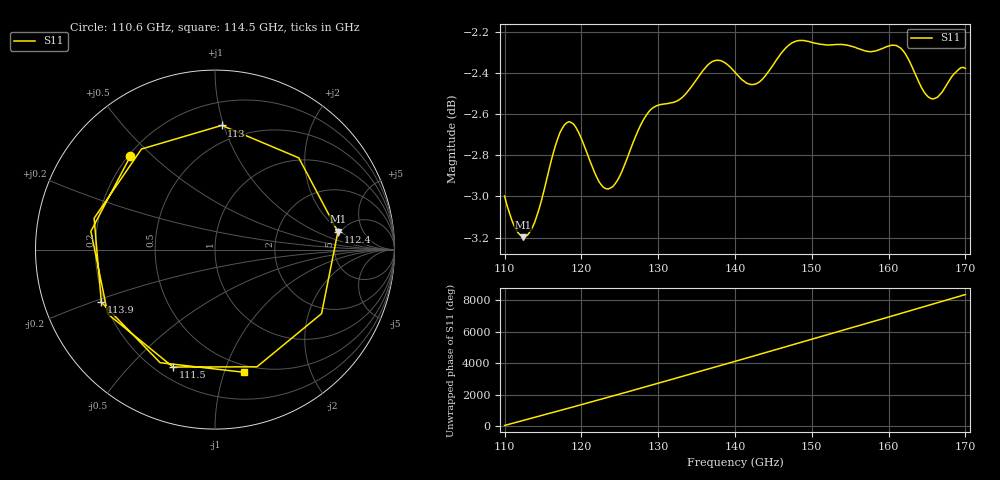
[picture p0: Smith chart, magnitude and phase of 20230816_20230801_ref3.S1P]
! C:\Users\Solidworker\Documents\VNA\mmiller\20230816\20230816_20230801_ref3.S1P
! Touchstone 1.1 file saved by VNA.EXE V1.65 (www.ke5fx.com/gpib/readme.htm)
! 8/16/2023 3:01:08 PM
!  Source: HP8510C.07.10: Mar 30  1995
!  Min freq: 1.100000E+011 Hz
!  Max freq: 1.700000E+011 Hz
!  Points: 201
!  Params: S11
# GHZ S MA R 50
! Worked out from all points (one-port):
!   201 points, 110 GHz to 170 GHz, reference 50 ohm
!   lowest |S11| = -3.2 dB at 112.4 GHz (marker M1), VSWR 5.49, Z = 238 + j91.4 ohm
!   |S11| at or under -10 dB: nowhere
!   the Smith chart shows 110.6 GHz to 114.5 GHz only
!   S11 on the Smith chart (normalised r, x): 110.6 GHz: 0.21, +0.43; 111.5 GHz: 0.27, -0.67; 112.4 GHz: 4.76, +1.83; 113 GHz: 0.37, +0.98; 113.9 GHz: 0.19, -0.21; 114.5 GHz: 0.43, -1.17
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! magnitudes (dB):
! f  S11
! 110 GHz  -3.0
! 110.6 GHz  -3.1
! 111.5 GHz  -3.2
! 112.4 GHz  -3.2
! 113 GHz  -3.2
! 113.9 GHz  -3.1
! 114.5 GHz  -3.1
! 116.6 GHz  -2.8
! 117.5 GHz  -2.7
! 119 GHz  -2.6
! 122.9 GHz  -3.0
! 124.1 GHz  -3.0
! 125 GHz  -2.9
! 128.6 GHz  -2.6
! 132.5 GHz  -2.5
! 137 GHz  -2.3
! 138.2 GHz  -2.3
! 140 GHz  -2.4
! 141.5 GHz  -2.4
! 143 GHz  -2.4
! 147.5 GHz  -2.3
! 155 GHz  -2.3
! 157.7 GHz  -2.3
! 161 GHz  -2.3
! 162.5 GHz  -2.3
! 164.3 GHz  -2.5
! 165.5 GHz  -2.5
! 170 GHz  -2.4
